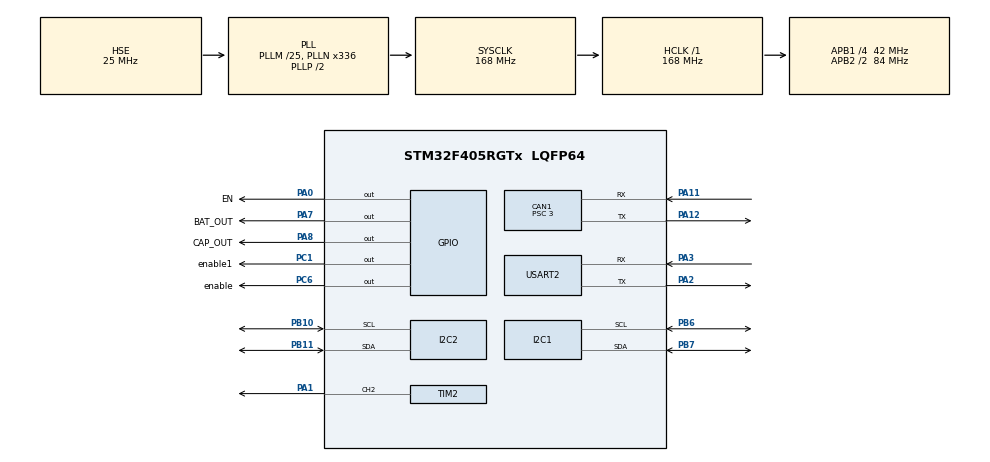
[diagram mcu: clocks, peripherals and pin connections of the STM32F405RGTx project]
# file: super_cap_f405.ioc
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CAN1.BS1=CAN_BS1_10TQ
CAN1.BS2=CAN_BS2_3TQ
CAN1.CalculateBaudRate=1000000
CAN1.CalculateTimeBit=1000
CAN1.CalculateTimeQuantum=71.42857142857143
CAN1.Prescaler=3
I2C1.I2C_Mode=I2C_Fast
I2C2.I2C_Mode=I2C_Fast
Mcu.Family=STM32F4
Mcu.Name=STM32F405RGTx
Mcu.Package=LQFP64
NVIC.CAN1_RX0_IRQn=true\:0\:0\:false\:false\:true\:true\:true\:true
NVIC.CAN1_TX_IRQn=true\:0\:0\:false\:false\:true\:true\:true\:true
NVIC.PriorityGroup=NVIC_PRIORITYGROUP_4
NVIC.TIM6_DAC_IRQn=true\:0\:0\:false\:false\:true\:true\:true\:true
NVIC.USART2_IRQn=true\:0\:0\:false\:false\:true\:true\:true\:true
PA0-WKUP.GPIO_Label=EN
PA0-WKUP.PinState=GPIO_PIN_SET
PA0-WKUP.Signal=GPIO_Output
PA1.Signal=S_TIM2_CH2
PA11.Mode=CAN_Activate
PA11.Signal=CAN1_RX
PA12.Mode=CAN_Activate
PA12.Signal=CAN1_TX
PA13.Mode=Serial_Wire
PA13.Signal=SYS_JTMS-SWDIO
PA14.Mode=Serial_Wire
PA14.Signal=SYS_JTCK-SWCLK
PA2.Mode=Asynchronous
PA2.Signal=USART2_TX
PA3.Mode=Asynchronous
PA3.Signal=USART2_RX
PA7.GPIO_Label=BAT_OUT
PA7.Signal=GPIO_Output
PA8.GPIO_Label=CAP_OUT
PA8.Signal=GPIO_Output
PB10.Mode=I2C
PB10.Signal=I2C2_SCL
PB11.Mode=I2C
PB11.Signal=I2C2_SDA
PB6.Mode=I2C
PB6.Signal=I2C1_SCL
PB7.Mode=I2C
PB7.Signal=I2C1_SDA
PC1.GPIO_Label=enable1
PC1.GPIO_PuPd=GPIO_PULLDOWN
PC1.GPIO_Speed=GPIO_SPEED_FREQ_HIGH
PC1.PinState=GPIO_PIN_SET
PC1.Signal=GPIO_Output
PC6.GPIO_Label=enable
PC6.GPIO_PuPd=GPIO_PULLDOWN
PC6.GPIO_Speed=GPIO_SPEED_FREQ_HIGH
PC6.PinState=GPIO_PIN_RESET
PC6.Signal=GPIO_Output
PH0-OSC_IN.Mode=HSE-External-Oscillator
PH0-OSC_IN.Signal=RCC_OSC_IN
PH1-OSC_OUT.Mode=HSE-External-Oscillator
PH1-OSC_OUT.Signal=RCC_OSC_OUT
ProjectManager.HeapSize=0x200
ProjectManager.StackSize=0x400
ProjectManager.TargetToolchain=MDK-ARM V5.32
RCC.48MHZClocksFreq_Value=84000000
RCC.AHBFreq_Value=168000000
RCC.APB1CLKDivider=RCC_HCLK_DIV4
RCC.APB1Freq_Value=42000000
RCC.APB1TimFreq_Value=84000000
RCC.APB2CLKDivider=RCC_HCLK_DIV2
RCC.APB2Freq_Value=84000000
RCC.APB2TimFreq_Value=168000000
RCC.CortexFreq_Value=168000000
RCC.HCLKFreq_Value=168000000
RCC.HSE_VALUE=25000000
RCC.HSI_VALUE=16000000
RCC.LSE_VALUE=32768
RCC.PLLM=25
RCC.PLLN=336
RCC.PLLSourceVirtual=RCC_PLLSOURCE_HSE
RCC.SYSCLKFreq_VALUE=168000000
RCC.SYSCLKSource=RCC_SYSCLKSOURCE_PLLCLK
RCC.VCOOutputFreq_Value=336000000
SH.S_TIM2_CH2.0=TIM2_CH2,PWM Generation2 CH2
TIM1.Period=2000-1
TIM1.Prescaler=42-1
TIM2.Channel-PWM\ Generation2\ CH2=TIM_CHANNEL_2
TIM2.Period=2100-1
TIM2.Prescaler=0
TIM6.Period=50000-1
TIM6.Prescaler=8400-1
USART2.VirtualMode=VM_ASYNC
VP_TIM1_VS_ClockSourceINT.Mode=Internal
VP_TIM2_VS_ClockSourceINT.Mode=Internal
VP_TIM6_VS_ClockSourceINT.Mode=Enable_Timer
board=custom

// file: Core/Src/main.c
/* USER CODE BEGIN Header */
/**
  ******************************************************************************
  * @file           : main.c
  * @brief          : Main program body
  ******************************************************************************
  * @attention
  *
  * Copyright (c) 2022 STMicroelectronics.
  * All rights reserved.
  *
  * This software is licensed under terms that can be found in the LICENSE file
  * in the root directory of this software component.
  * If no LICENSE file comes with this software, it is provided AS-IS.
  *
  ******************************************************************************
  */
/* USER CODE END Header */
#include "main.h"
#include "can.h"
#include "i2c.h"
#include "tim.h"
#include "usart.h"
#include "gpio.h"

/* USER CODE BEGIN Includes */
#include "ina226.h"
#include "power_control.h"
#include "fytpi_math.h"
/* USER CODE END Includes */

void SystemClock_Config(void);

/* USER CODE BEGIN 0 */
uint16_t current_zero(uint16_t current)
{
	return current>20000?0:current;
}

void INA226_Init(void)
{
    INA226_setConfig(&hi2c1, INA226_CAP_ADDRESS, 0x8000);
    INA226_setConfig(&hi2c1, INA226_CAP_ADDRESS, 0x44DF);
    INA226_setCalibrationReg(&hi2c1, INA226_CAP_ADDRESS, 0x0800);

    INA226_setConfig(&hi2c1, INA226_BAT_ADDRESS, 0x8000);
    INA226_setConfig(&hi2c1, INA226_BAT_ADDRESS, 0x44DF);
    INA226_setCalibrationReg(&hi2c1, INA226_BAT_ADDRESS, 0x8000);
}

//int look;
//uint16_t shunt_vo = 0;
uint16_t cur_current = 0;
void INA226_GetData(void)
{
	CONTROL_DEVICE_T* control_device = getControlDevice();
    control_device->Bat.cur_current = current_zero(0.5*INA226_getShuntV(&hi2c1, INA226_BAT_ADDRESS));
    control_device->Bat.cur_voltage = 0.125f*INA226_getBusV(&hi2c1, INA226_BAT_ADDRESS);
    control_device->Bat.cur_power   = control_device->Bat.cur_voltage*control_device->Bat.cur_current/1000.0f;

    //shunt_vo = 0.6*INA226_getShuntV(&hi2c1, INA226_BAT_ADDRESS);
//    cur_current = 0.8*0.87*0.96*(INA226_getShuntV(&hi2c1, INA226_CAP_ADDRESS)+5472-65535);
//	 cur_current = 0.5*INA226_getShuntV(&hi2c1, INA226_CAP_ADDRESS)+500-30000;
	cur_current = 0.45*INA226_getShuntV(&hi2c1, INA226_CAP_ADDRESS);

	    control_device->Cap.cur_current = current_zero( 0.45*INA226_getShuntV(&hi2c1, INA226_CAP_ADDRESS));
//    control_device->Cap.cur_current = current_zero(0.9f*0.5f*INA226_getCurrent(&hi2c1, INA226_CAP_ADDRESS));
//  	look=control_device->Cap.cur_current;
	    control_device->Cap.cur_voltage = 0.125f*INA226_getBusV(&hi2c1, INA226_CAP_ADDRESS);
	    control_device->Cap.cur_power   = control_device->Cap.cur_voltage*control_device->Cap.cur_current/1000.0f;
//    control_device->Cap.cur_power   = 0.125f*INA226_getPower(&hi2c1, INA226_CAP_ADDRESS);

}

void PWM_Init(void)
{
    HAL_TIM_PWM_Start(&htim2, TIM_CHANNEL_1);
    HAL_TIM_PWM_Start(&htim2, TIM_CHANNEL_2);
    HAL_TIMEx_PWMN_Start(&htim2, TIM_CHANNEL_1);
    HAL_TIMEx_PWMN_Start(&htim2, TIM_CHANNEL_2);
//	HAL_TIM_PWM_Start(&htim1, TIM_CHANNEL_1);
    HAL_TIM_PWM_Start(&htim1, TIM_CHANNEL_2);
//    HAL_TIMEx_PWMN_Start(&htim1, TIM_CHANNEL_1);
    HAL_TIMEx_PWMN_Start(&htim1, TIM_CHANNEL_2);

	  TIM2 ->CCR2=1;
	  CONTROL_DEVICE_T *control_device_tmp = getControlDevice();
		control_device_tmp->limit_power = 4500;
	  control_device_tmp->remain_energy =60;
}

/* USER CODE END 0 */

int main(void)
{

  /* MCU Configuration--------------------------------------------------------*/

  /* Reset of all peripherals, Initializes the Flash interface and the Systick. */
  HAL_Init();

  /* Configure the system clock */
  SystemClock_Config();

  /* Initialize all configured peripherals */
  MX_GPIO_Init();
  MX_CAN1_Init();
  MX_I2C1_Init();
  MX_TIM1_Init();
  MX_USART2_UART_Init();
  MX_TIM2_Init();
  MX_I2C2_Init();
  MX_TIM6_Init();
  /* USER CODE BEGIN 2 */
  PWM_Init();
	HAL_I2C_MspInit(&hi2c1);
	CAN1_FilterInit();
  INA226_Init();
  HAL_GPIO_WritePin(EN_GPIO_Port, EN_Pin, GPIO_PIN_SET);

//	HAL_TIM_Base_Start_IT(&htim6);
//	TIM1 ->CR1 &=0xfffffcff;
//	TIM1 ->CR1 |=0x00000400;
  /* USER CODE END 2 */

  /* Infinite loop */
  /* USER CODE BEGIN WHILE */
  while (1)
  {
	  INA226_GetData();
    PowerControlRun();
//	  cap_charge_control();
//        capEnable();
//        HAL_Delay(10000);
        //capDisable();
//        HAL_Delay(10000);
      HAL_Delay(5);
    /* USER CODE END WHILE */

  }
}

void SystemClock_Config(void)
{
  RCC_OscInitTypeDef RCC_OscInitStruct = {0};
  RCC_ClkInitTypeDef RCC_ClkInitStruct = {0};

  /** Configure the main internal regulator output voltage
  */
  __HAL_RCC_PWR_CLK_ENABLE();
  __HAL_PWR_VOLTAGESCALING_CONFIG(PWR_REGULATOR_VOLTAGE_SCALE1);

  /** Initializes the RCC Oscillators according to the specified parameters
  * in the RCC_OscInitTypeDef structure.
  */
  RCC_OscInitStruct.OscillatorType = RCC_OSCILLATORTYPE_HSE;
  RCC_OscInitStruct.HSEState = RCC_HSE_ON;
  RCC_OscInitStruct.PLL.PLLState = RCC_PLL_ON;
  RCC_OscInitStruct.PLL.PLLSource = RCC_PLLSOURCE_HSE;
  RCC_OscInitStruct.PLL.PLLM = 25;
  RCC_OscInitStruct.PLL.PLLN = 336;
  RCC_OscInitStruct.PLL.PLLP = RCC_PLLP_DIV2;
  RCC_OscInitStruct.PLL.PLLQ = 4;
  if (HAL_RCC_OscConfig(&RCC_OscInitStruct) != HAL_OK)
  {
    Error_Handler();
  }

  /** Initializes the CPU, AHB and APB buses clocks
  */
  RCC_ClkInitStruct.ClockType = RCC_CLOCKTYPE_HCLK|RCC_CLOCKTYPE_SYSCLK
                              |RCC_CLOCKTYPE_PCLK1|RCC_CLOCKTYPE_PCLK2;
  RCC_ClkInitStruct.SYSCLKSource = RCC_SYSCLKSOURCE_PLLCLK;
  RCC_ClkInitStruct.AHBCLKDivider = RCC_SYSCLK_DIV1;
  RCC_ClkInitStruct.APB1CLKDivider = RCC_HCLK_DIV4;
  RCC_ClkInitStruct.APB2CLKDivider = RCC_HCLK_DIV2;

  if (HAL_RCC_ClockConfig(&RCC_ClkInitStruct, FLASH_LATENCY_5) != HAL_OK)
  {
    Error_Handler();
  }
}

/* USER CODE BEGIN 4 */
void HAL_TIM_PeriodElapsedCallback(TIM_HandleTypeDef *htim)
{
  UNUSED(htim);
	 if (htim->Instance == TIM6) {
    CONTROL_DEVICE_T *control_device_tmp = getControlDevice();
		control_device_tmp->limit_power = 6000;
  }
}
/* USER CODE END 4 */

void Error_Handler(void)
{
  __disable_irq();
  while (1)
  {
  }
}
